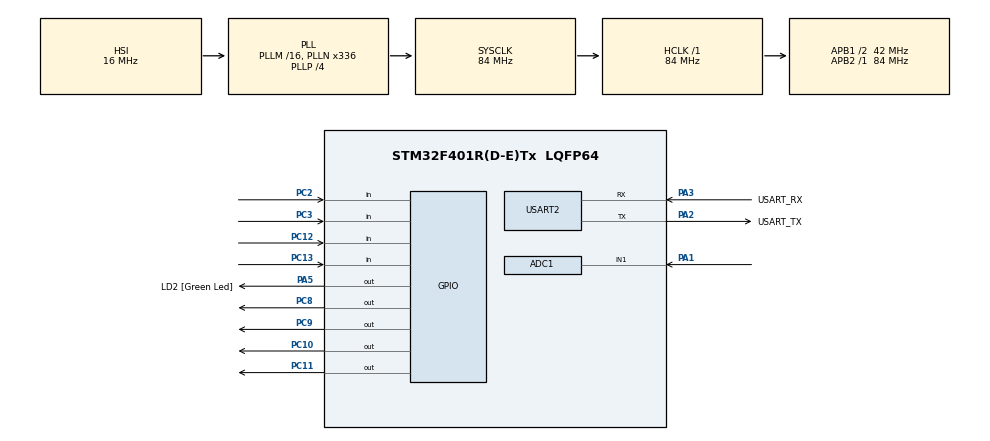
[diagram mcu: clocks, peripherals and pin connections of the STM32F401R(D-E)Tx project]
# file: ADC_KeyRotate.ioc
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ADC1.Channel-0\#ChannelRegularConversion=ADC_CHANNEL_1
ADC1.Channel-1\#ChannelRegularConversion=ADC_CHANNEL_VREFINT
ADC1.Channel-2\#ChannelRegularConversion=ADC_CHANNEL_TEMPSENSOR
ADC1.DMAContinuousRequests=ENABLE
ADC1.ExternalTrigConv=ADC_EXTERNALTRIGCONV_T3_TRGO
ADC1.NbrOfConversion=3
ADC1.NbrOfConversionFlag=1
ADC1.Rank-0\#ChannelRegularConversion=1
ADC1.Rank-1\#ChannelRegularConversion=2
ADC1.Rank-2\#ChannelRegularConversion=3
ADC1.SamplingTime-0\#ChannelRegularConversion=ADC_SAMPLETIME_480CYCLES
ADC1.SamplingTime-1\#ChannelRegularConversion=ADC_SAMPLETIME_480CYCLES
ADC1.SamplingTime-2\#ChannelRegularConversion=ADC_SAMPLETIME_480CYCLES
ADC1.ScanConvMode=ENABLE
ADC1.master=1
Dma.ADC1.1.Direction=DMA_PERIPH_TO_MEMORY
Dma.ADC1.1.FIFOMode=DMA_FIFOMODE_DISABLE
Dma.ADC1.1.Instance=DMA2_Stream0
Dma.ADC1.1.MemDataAlignment=DMA_MDATAALIGN_HALFWORD
Dma.ADC1.1.MemInc=DMA_MINC_ENABLE
Dma.ADC1.1.Mode=DMA_CIRCULAR
Dma.ADC1.1.PeriphDataAlignment=DMA_PDATAALIGN_HALFWORD
Dma.ADC1.1.PeriphInc=DMA_PINC_DISABLE
Dma.ADC1.1.Priority=DMA_PRIORITY_LOW
Dma.Request0=USART2_TX
Dma.Request1=ADC1
Dma.USART2_TX.0.Direction=DMA_MEMORY_TO_PERIPH
Dma.USART2_TX.0.FIFOMode=DMA_FIFOMODE_DISABLE
Dma.USART2_TX.0.Instance=DMA1_Stream6
Dma.USART2_TX.0.MemDataAlignment=DMA_MDATAALIGN_BYTE
Dma.USART2_TX.0.MemInc=DMA_MINC_ENABLE
Dma.USART2_TX.0.Mode=DMA_NORMAL
Dma.USART2_TX.0.PeriphDataAlignment=DMA_PDATAALIGN_BYTE
Dma.USART2_TX.0.PeriphInc=DMA_PINC_DISABLE
Dma.USART2_TX.0.Priority=DMA_PRIORITY_LOW
Mcu.Family=STM32F4
Mcu.Name=STM32F401R(D-E)Tx
Mcu.Package=LQFP64
NVIC.DMA1_Stream6_IRQn=true\:0\:0\:false\:false\:true\:false\:true\:true
NVIC.DMA2_Stream0_IRQn=true\:0\:0\:false\:false\:true\:false\:true\:true
NVIC.PriorityGroup=NVIC_PRIORITYGROUP_4
NVIC.TIM2_IRQn=true\:0\:0\:false\:false\:true\:true\:true\:true
NVIC.USART2_IRQn=true\:0\:0\:false\:false\:true\:true\:true\:true
PA1.Signal=ADCx_IN1
PA13.GPIO_Label=TMS
PA13.Mode=Trace_Asynchronous_SW
PA13.Signal=SYS_JTMS-SWDIO
PA14.GPIO_Label=TCK
PA14.Mode=Trace_Asynchronous_SW
PA14.Signal=SYS_JTCK-SWCLK
PA2.GPIO_Label=USART_TX
PA2.GPIO_Mode=GPIO_MODE_AF_PP
PA2.GPIO_PuPd=GPIO_NOPULL
PA2.GPIO_Speed=GPIO_SPEED_FREQ_LOW
PA2.Mode=Asynchronous
PA2.Signal=USART2_TX
PA3.GPIO_Label=USART_RX
PA3.GPIO_Mode=GPIO_MODE_AF_PP
PA3.GPIO_PuPd=GPIO_NOPULL
PA3.GPIO_Speed=GPIO_SPEED_FREQ_LOW
PA3.Mode=Asynchronous
PA3.Signal=USART2_RX
PA5.GPIO_Label=LD2 [Green Led]
PA5.GPIO_Mode=GPIO_MODE_OUTPUT_PP
PA5.GPIO_PuPd=GPIO_NOPULL
PA5.GPIO_Speed=GPIO_SPEED_FREQ_LOW
PA5.Signal=GPIO_Output
PB3.GPIO_Label=SWO
PB3.Mode=Trace_Asynchronous_SW
PB3.Signal=SYS_JTDO-SWO
PC10.Signal=GPIO_Output
PC11.Signal=GPIO_Output
PC12.Signal=GPIO_Input
PC13-ANTI_TAMP.Signal=GPIO_Input
PC14-OSC32_IN.Mode=LSE-External-Oscillator
PC14-OSC32_IN.Signal=RCC_OSC32_IN
PC15-OSC32_OUT.Mode=LSE-External-Oscillator
PC15-OSC32_OUT.Signal=RCC_OSC32_OUT
PC2.Signal=GPIO_Input
PC3.Signal=GPIO_Input
PC8.Signal=GPIO_Output
PC9.Signal=GPIO_Output
PH0\ -\ OSC_IN.Mode=HSE-External-Clock-Source
PH0\ -\ OSC_IN.Signal=RCC_OSC_IN
PH1\ -\ OSC_OUT.Mode=HSE-External-Clock-Source
PH1\ -\ OSC_OUT.Signal=RCC_OSC_OUT
ProjectManager.HeapSize=0x200
ProjectManager.StackSize=0x400
ProjectManager.TargetToolchain=STM32CubeIDE
RCC.48MHZClocksFreq_Value=48000000
RCC.AHBFreq_Value=84000000
RCC.APB1CLKDivider=RCC_HCLK_DIV2
RCC.APB1Freq_Value=42000000
RCC.APB1TimFreq_Value=84000000
RCC.APB2Freq_Value=84000000
RCC.APB2TimFreq_Value=84000000
RCC.CortexFreq_Value=84000000
RCC.HCLKFreq_Value=84000000
RCC.HSE_VALUE=8000000
RCC.HSI_VALUE=16000000
RCC.PLLN=336
RCC.PLLP=RCC_PLLP_DIV4
RCC.PLLQ=7
RCC.SYSCLKFreq_VALUE=84000000
RCC.SYSCLKSource=RCC_SYSCLKSOURCE_PLLCLK
RCC.VCOOutputFreq_Value=336000000
SH.ADCx_IN1.0=ADC1_IN1,IN1
TIM2.Period=19
TIM2.Prescaler=8399
TIM3.Period=9999
TIM3.Prescaler=8399
TIM3.TIM_MasterOutputTrigger=TIM_TRGO_UPDATE
USART2.VirtualMode=VM_ASYNC
VP_ADC1_TempSens_Input.Mode=IN-TempSens
VP_ADC1_Vref_Input.Mode=IN-Vrefint
VP_TIM2_VS_ClockSourceINT.Mode=Internal
VP_TIM3_VS_ClockSourceINT.Mode=Internal
board=NUCLEO-F401RE

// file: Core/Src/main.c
/* USER CODE BEGIN Header */
/**
  ******************************************************************************
  * @file           : main.c
  * @brief          : Main program body
  ******************************************************************************
  * @attention
  *
  * Copyright (c) 2025 STMicroelectronics.
  * All rights reserved.
  *
  * This software is licensed under terms that can be found in the LICENSE file
  * in the root directory of this software component.
  * If no LICENSE file comes with this software, it is provided AS-IS.
  *
  ******************************************************************************
  */
/* USER CODE END Header */
#include "main.h"

/* USER CODE BEGIN Includes */
#include "stdio.h"
#define DEBOUNCE 50
/* USER CODE END Includes */

ADC_HandleTypeDef hadc1;
DMA_HandleTypeDef hdma_adc1;

TIM_HandleTypeDef htim2;
TIM_HandleTypeDef htim3;

UART_HandleTypeDef huart2;
DMA_HandleTypeDef hdma_usart2_tx;

/* USER CODE BEGIN PV */
const uint16_t ROW_PINS[4] = {GPIO_PIN_3, GPIO_PIN_2, GPIO_PIN_13, GPIO_PIN_12};
const uint16_t COLUMN_PINS[4] = {GPIO_PIN_11, GPIO_PIN_10, GPIO_PIN_9, GPIO_PIN_8};

const char KEY_MAP[4][4] = {
		{'F', 'E', 'D', 'C'},
		{'B', 'A', '9', '8'},
		{'7', '6', '5', '4'},
		{'3', '2', '1', '0'}};
uint16_t adc_dma_buffer[3];
volatile int current_column = 0;
uint32_t last_tick_matrix[4][4] = {0};
uint8_t key_pressed_state[4][4] = {0};

char string[100];
volatile uint8_t is_running = 1; // 1 = Running, 0 = Paused
volatile int rotation_offset = 0;
/* USER CODE END PV */

void SystemClock_Config(void);
static void MX_GPIO_Init(void);
static void MX_DMA_Init(void);
static void MX_USART2_UART_Init(void);
static void MX_TIM2_Init(void);
static void MX_ADC1_Init(void);
static void MX_TIM3_Init(void);

/* USER CODE BEGIN 0 */
void HAL_ADC_ConvCpltCallback(ADC_HandleTypeDef* hadc) {
	float potentiometer = adc_dma_buffer[0]*3.3f/4095.0f;
	float vsense = adc_dma_buffer[1]*3.3f/4095;
	float temperature = (vsense - 0.76f) / 0.0025f + 25.0f;
	float vref = adc_dma_buffer[2]*3.3f/4095.0f;

	char p1[40], p2[40], p3[40];
	    snprintf(p1, sizeof(p1), "Pot: %.3fV", potentiometer);
	    snprintf(p2, sizeof(p2), "Vref: %.3fV", vref);
	    snprintf(p3, sizeof(p3), "Temp: %.1fC", temperature);
	    char* parts[3] = {p1, p2, p3};
	    int length = snprintf(string, sizeof(string),
	            "%s | %s | %s\r\n",
	            parts[rotation_offset],
	            parts[(rotation_offset + 1) % 3],
	            parts[(rotation_offset + 2) % 3]);
	HAL_UART_Transmit_DMA(&huart2, (uint8_t *)string, length);
}
void sendToTerminal(char c) {
//	if (c == '1') {
//	        if (is_running) {
//	        	HAL_TIM_Base_Stop(&htim3);
//	            is_running = 0;
//	        } else {
//	        	HAL_TIM_Base_Start(&htim3);
//	            is_running = 1;
//	        }
//	    }

	if (c == '0') {

	        rotation_offset = (rotation_offset + 1) % 3;
	    }

}

void HAL_TIM_PeriodElapsedCallback(TIM_HandleTypeDef *htim) {
	if (htim->Instance == TIM2) {
		for (int i = 0; i < 4; i ++) {
			if (HAL_GPIO_ReadPin(GPIOC, ROW_PINS[i]) == GPIO_PIN_RESET) {
				if (key_pressed_state[i][current_column] == 0) {
					uint32_t current_tick = HAL_GetTick();
					if((current_tick - last_tick_matrix[i][current_column]) > DEBOUNCE) {
						sendToTerminal(KEY_MAP[i][current_column]);
						key_pressed_state[i][current_column] = 1;
						last_tick_matrix[i][current_column] = current_tick;
					}
				}
			} else {
				key_pressed_state[i][current_column] = 0;
//				last_tick_matrix[i][current_column] = HAL_GetTick();
			}
		}

		HAL_GPIO_WritePin(GPIOC, COLUMN_PINS[current_column], GPIO_PIN_RESET);
		current_column = (current_column + 1) % 4;
		HAL_GPIO_WritePin(GPIOC, COLUMN_PINS[current_column], GPIO_PIN_SET);
	}
}
/* USER CODE END 0 */

int main(void)
{

  /* MCU Configuration--------------------------------------------------------*/

  /* Reset of all peripherals, Initializes the Flash interface and the Systick. */
  HAL_Init();

  /* Configure the system clock */
  SystemClock_Config();

  /* Initialize all configured peripherals */
  MX_GPIO_Init();
  MX_DMA_Init();
  MX_USART2_UART_Init();
  MX_TIM2_Init();
  MX_ADC1_Init();
  MX_TIM3_Init();
  /* USER CODE BEGIN 2 */
  HAL_ADC_Start_DMA(&hadc1, adc_dma_buffer, 3);
  HAL_TIM_Base_Start(&htim3);
  HAL_GPIO_WritePin(GPIOC, COLUMN_PINS[current_column], GPIO_PIN_SET);
  HAL_TIM_Base_Start_IT(&htim2);
  /* USER CODE END 2 */

  /* Infinite loop */
  while (1)
  {

  }
}

void SystemClock_Config(void)
{
  RCC_OscInitTypeDef RCC_OscInitStruct = {0};
  RCC_ClkInitTypeDef RCC_ClkInitStruct = {0};

  /** Configure the main internal regulator output voltage
  */
  __HAL_RCC_PWR_CLK_ENABLE();
  __HAL_PWR_VOLTAGESCALING_CONFIG(PWR_REGULATOR_VOLTAGE_SCALE2);

  /** Initializes the RCC Oscillators according to the specified parameters
  * in the RCC_OscInitTypeDef structure.
  */
  RCC_OscInitStruct.OscillatorType = RCC_OSCILLATORTYPE_HSI;
  RCC_OscInitStruct.HSIState = RCC_HSI_ON;
  RCC_OscInitStruct.HSICalibrationValue = RCC_HSICALIBRATION_DEFAULT;
  RCC_OscInitStruct.PLL.PLLState = RCC_PLL_ON;
  RCC_OscInitStruct.PLL.PLLSource = RCC_PLLSOURCE_HSI;
  RCC_OscInitStruct.PLL.PLLM = 16;
  RCC_OscInitStruct.PLL.PLLN = 336;
  RCC_OscInitStruct.PLL.PLLP = RCC_PLLP_DIV4;
  RCC_OscInitStruct.PLL.PLLQ = 7;
  if (HAL_RCC_OscConfig(&RCC_OscInitStruct) != HAL_OK)
  {
    Error_Handler();
  }

  /** Initializes the CPU, AHB and APB buses clocks
  */
  RCC_ClkInitStruct.ClockType = RCC_CLOCKTYPE_HCLK|RCC_CLOCKTYPE_SYSCLK
                              |RCC_CLOCKTYPE_PCLK1|RCC_CLOCKTYPE_PCLK2;
  RCC_ClkInitStruct.SYSCLKSource = RCC_SYSCLKSOURCE_PLLCLK;
  RCC_ClkInitStruct.AHBCLKDivider = RCC_SYSCLK_DIV1;
  RCC_ClkInitStruct.APB1CLKDivider = RCC_HCLK_DIV2;
  RCC_ClkInitStruct.APB2CLKDivider = RCC_HCLK_DIV1;

  if (HAL_RCC_ClockConfig(&RCC_ClkInitStruct, FLASH_LATENCY_2) != HAL_OK)
  {
    Error_Handler();
  }
}

static void MX_ADC1_Init(void)
{

  ADC_ChannelConfTypeDef sConfig = {0};

  /** Configure the global features of the ADC (Clock, Resolution, Data Alignment and number of conversion)
  */
  hadc1.Instance = ADC1;
  hadc1.Init.ClockPrescaler = ADC_CLOCK_SYNC_PCLK_DIV4;
  hadc1.Init.Resolution = ADC_RESOLUTION_12B;
  hadc1.Init.ScanConvMode = ENABLE;
  hadc1.Init.ContinuousConvMode = DISABLE;
  hadc1.Init.DiscontinuousConvMode = DISABLE;
  hadc1.Init.ExternalTrigConvEdge = ADC_EXTERNALTRIGCONVEDGE_RISING;
  hadc1.Init.ExternalTrigConv = ADC_EXTERNALTRIGCONV_T3_TRGO;
  hadc1.Init.DataAlign = ADC_DATAALIGN_RIGHT;
  hadc1.Init.NbrOfConversion = 3;
  hadc1.Init.DMAContinuousRequests = ENABLE;
  hadc1.Init.EOCSelection = ADC_EOC_SINGLE_CONV;
  if (HAL_ADC_Init(&hadc1) != HAL_OK)
  {
    Error_Handler();
  }

  /** Configure for the selected ADC regular channel its corresponding rank in the sequencer and its sample time.
  */
  sConfig.Channel = ADC_CHANNEL_1;
  sConfig.Rank = 1;
  sConfig.SamplingTime = ADC_SAMPLETIME_480CYCLES;
  if (HAL_ADC_ConfigChannel(&hadc1, &sConfig) != HAL_OK)
  {
    Error_Handler();
  }

  /** Configure for the selected ADC regular channel its corresponding rank in the sequencer and its sample time.
  */
  sConfig.Channel = ADC_CHANNEL_VREFINT;
  sConfig.Rank = 2;
  if (HAL_ADC_ConfigChannel(&hadc1, &sConfig) != HAL_OK)
  {
    Error_Handler();
  }

  /** Configure for the selected ADC regular channel its corresponding rank in the sequencer and its sample time.
  */
  sConfig.Channel = ADC_CHANNEL_TEMPSENSOR;
  sConfig.Rank = 3;
  if (HAL_ADC_ConfigChannel(&hadc1, &sConfig) != HAL_OK)
  {
    Error_Handler();
  }

}

static void MX_TIM2_Init(void)
{

  TIM_ClockConfigTypeDef sClockSourceConfig = {0};
  TIM_MasterConfigTypeDef sMasterConfig = {0};

  htim2.Instance = TIM2;
  htim2.Init.Prescaler = 8399;
  htim2.Init.CounterMode = TIM_COUNTERMODE_UP;
  htim2.Init.Period = 19;
  htim2.Init.ClockDivision = TIM_CLOCKDIVISION_DIV1;
  htim2.Init.AutoReloadPreload = TIM_AUTORELOAD_PRELOAD_DISABLE;
  if (HAL_TIM_Base_Init(&htim2) != HAL_OK)
  {
    Error_Handler();
  }
  sClockSourceConfig.ClockSource = TIM_CLOCKSOURCE_INTERNAL;
  if (HAL_TIM_ConfigClockSource(&htim2, &sClockSourceConfig) != HAL_OK)
  {
    Error_Handler();
  }
  sMasterConfig.MasterOutputTrigger = TIM_TRGO_RESET;
  sMasterConfig.MasterSlaveMode = TIM_MASTERSLAVEMODE_DISABLE;
  if (HAL_TIMEx_MasterConfigSynchronization(&htim2, &sMasterConfig) != HAL_OK)
  {
    Error_Handler();
  }

}

static void MX_TIM3_Init(void)
{

  TIM_ClockConfigTypeDef sClockSourceConfig = {0};
  TIM_MasterConfigTypeDef sMasterConfig = {0};

  htim3.Instance = TIM3;
  htim3.Init.Prescaler = 8399;
  htim3.Init.CounterMode = TIM_COUNTERMODE_UP;
  htim3.Init.Period = 9999;
  htim3.Init.ClockDivision = TIM_CLOCKDIVISION_DIV1;
  htim3.Init.AutoReloadPreload = TIM_AUTORELOAD_PRELOAD_DISABLE;
  if (HAL_TIM_Base_Init(&htim3) != HAL_OK)
  {
    Error_Handler();
  }
  sClockSourceConfig.ClockSource = TIM_CLOCKSOURCE_INTERNAL;
  if (HAL_TIM_ConfigClockSource(&htim3, &sClockSourceConfig) != HAL_OK)
  {
    Error_Handler();
  }
  sMasterConfig.MasterOutputTrigger = TIM_TRGO_UPDATE;
  sMasterConfig.MasterSlaveMode = TIM_MASTERSLAVEMODE_DISABLE;
  if (HAL_TIMEx_MasterConfigSynchronization(&htim3, &sMasterConfig) != HAL_OK)
  {
    Error_Handler();
  }

}

static void MX_USART2_UART_Init(void)
{

  huart2.Instance = USART2;
  huart2.Init.BaudRate = 115200;
  huart2.Init.WordLength = UART_WORDLENGTH_8B;
  huart2.Init.StopBits = UART_STOPBITS_1;
  huart2.Init.Parity = UART_PARITY_NONE;
  huart2.Init.Mode = UART_MODE_TX_RX;
  huart2.Init.HwFlowCtl = UART_HWCONTROL_NONE;
  huart2.Init.OverSampling = UART_OVERSAMPLING_16;
  if (HAL_UART_Init(&huart2) != HAL_OK)
  {
    Error_Handler();
  }

}

static void MX_DMA_Init(void)
{

  /* DMA controller clock enable */
  __HAL_RCC_DMA1_CLK_ENABLE();
  __HAL_RCC_DMA2_CLK_ENABLE();

  /* DMA interrupt init */
  /* DMA1_Stream6_IRQn interrupt configuration */
  HAL_NVIC_SetPriority(DMA1_Stream6_IRQn, 0, 0);
  HAL_NVIC_EnableIRQ(DMA1_Stream6_IRQn);
  /* DMA2_Stream0_IRQn interrupt configuration */
  HAL_NVIC_SetPriority(DMA2_Stream0_IRQn, 0, 0);
  HAL_NVIC_EnableIRQ(DMA2_Stream0_IRQn);

}

static void MX_GPIO_Init(void)
{
  GPIO_InitTypeDef GPIO_InitStruct = {0};

  /* GPIO Ports Clock Enable */
  __HAL_RCC_GPIOC_CLK_ENABLE();
  __HAL_RCC_GPIOH_CLK_ENABLE();
  __HAL_RCC_GPIOA_CLK_ENABLE();
  __HAL_RCC_GPIOB_CLK_ENABLE();

  /*Configure GPIO pin Output Level */
  HAL_GPIO_WritePin(LD2_GPIO_Port, LD2_Pin, GPIO_PIN_RESET);

  /*Configure GPIO pin Output Level */
  HAL_GPIO_WritePin(GPIOC, GPIO_PIN_8|GPIO_PIN_9|GPIO_PIN_10|GPIO_PIN_11, GPIO_PIN_RESET);

  /*Configure GPIO pins : PC13 PC2 PC3 PC12 */
  GPIO_InitStruct.Pin = GPIO_PIN_13|GPIO_PIN_2|GPIO_PIN_3|GPIO_PIN_12;
  GPIO_InitStruct.Mode = GPIO_MODE_INPUT;
  GPIO_InitStruct.Pull = GPIO_NOPULL;
  HAL_GPIO_Init(GPIOC, &GPIO_InitStruct);

  /*Configure GPIO pin : LD2_Pin */
  GPIO_InitStruct.Pin = LD2_Pin;
  GPIO_InitStruct.Mode = GPIO_MODE_OUTPUT_PP;
  GPIO_InitStruct.Pull = GPIO_NOPULL;
  GPIO_InitStruct.Speed = GPIO_SPEED_FREQ_LOW;
  HAL_GPIO_Init(LD2_GPIO_Port, &GPIO_InitStruct);

  /*Configure GPIO pins : PC8 PC9 PC10 PC11 */
  GPIO_InitStruct.Pin = GPIO_PIN_8|GPIO_PIN_9|GPIO_PIN_10|GPIO_PIN_11;
  GPIO_InitStruct.Mode = GPIO_MODE_OUTPUT_PP;
  GPIO_InitStruct.Pull = GPIO_NOPULL;
  GPIO_InitStruct.Speed = GPIO_SPEED_FREQ_LOW;
  HAL_GPIO_Init(GPIOC, &GPIO_InitStruct);

}

void Error_Handler(void)
{
  __disable_irq();
  while (1)
  {
  }
}
